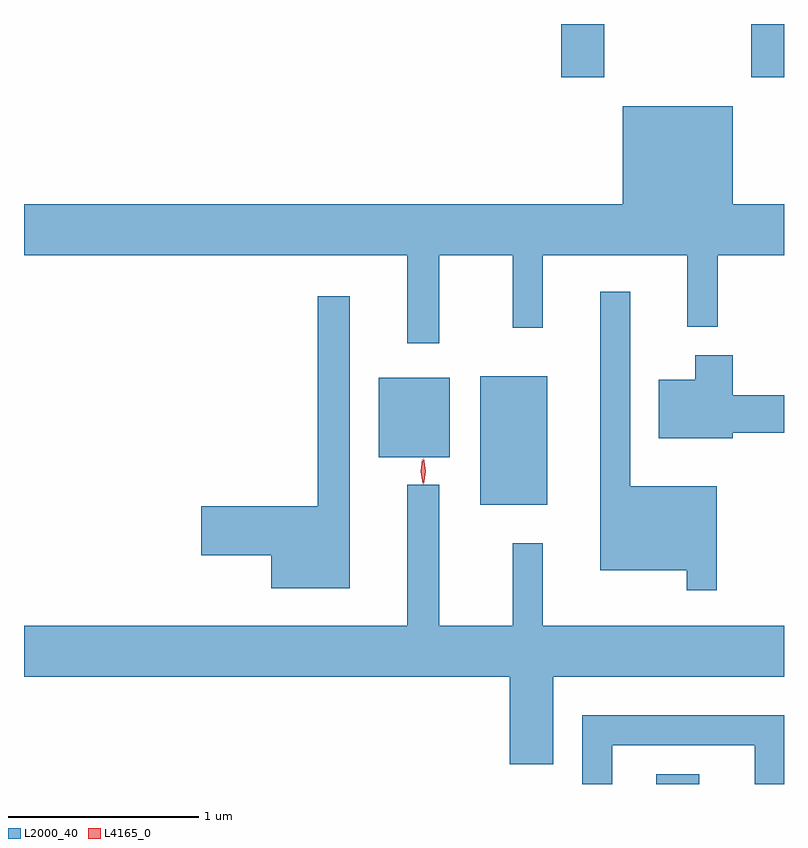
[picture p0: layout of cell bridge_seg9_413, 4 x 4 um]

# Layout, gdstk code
import gdstk
lib = gdstk.Library(unit=1e-6, precision=1e-09)
def R(c, l, rs):  # rectangles x0, y0, x1, y1
    for r in rs: c.add(gdstk.rectangle(r[:2], r[2:], *l))
def P(c, l, *ps):  # polygons
    for p in ps: c.add(gdstk.Polygon(p, *l))
L2000_40 = (2000, 40)
L4165_0 = (4165, 0)

bridge_seg9_413 = lib.new_cell('bridge_seg9_413')
R(bridge_seg9_413, L2000_40, [(427.851,2028.992,428.079,2029.044), (426.926,2030.461,427.279,2031.139), (426.391,2030.711,426.764,2031.129), (427.351,2032.711,427.579,2032.992), (428.351,2032.711,428.524,2032.992)])
P(bridge_seg9_413, L2000_40, [(426.709,2031.776),(427.096,2031.776),(427.096,2031.393),(427.254,2031.393),(427.254,2031.776),(428.016,2031.776),(428.016,2031.398),(428.174,2031.398),(428.174,2031.776),(428.524,2031.776),(428.524,2032.044),(428.254,2032.044),(428.254,2032.559),(427.676,2032.559),(427.676,2032.044),(424.524,2032.044),(424.524,2031.776),(426.541,2031.776),(426.541,2031.313),(426.709,2031.313)],
  [(428.169,2030.559),(427.714,2030.559),(427.714,2031.583),(427.556,2031.583),(427.556,2030.116),(428.011,2030.116),(428.011,2030.013),(428.169,2030.013)],
  [(426.239,2031.558),(426.071,2031.558),(426.071,2030.454),(425.456,2030.454),(425.456,2030.196),(425.826,2030.196),(425.826,2030.021),(426.239,2030.021)],
  [(428.254,2030.841),(428.524,2030.841),(428.524,2031.039),(428.254,2031.039),(428.254,2031.249),(428.056,2031.249),(428.056,2031.119),(427.866,2031.119),(427.866,2030.811),(428.254,2030.811)],
  [(427.309,2029.556),(428.524,2029.556),(428.524,2029.824),(427.254,2029.824),(427.254,2030.258),(427.096,2030.258),(427.096,2029.824),(426.709,2029.824),(426.709,2030.568),(426.541,2030.568),(426.541,2029.824),(424.524,2029.824),(424.524,2029.556),(427.081,2029.556),(427.081,2029.096),(427.309,2029.096)],
  [(427.619,2029.196),(428.371,2029.196),(428.371,2028.992),(428.524,2028.992),(428.524,2029.354),(427.461,2029.354),(427.461,2028.992),(427.619,2028.992)])
P(bridge_seg9_413, L4165_0, [(426.622,2030.573),(426.612,2030.637),(426.62,2030.701),(426.62,2030.702),(426.621,2030.701),(426.631,2030.637),(426.623,2030.573),(426.623,2030.573)],
  [(426.628,2030.569),(426.627,2030.57),(426.618,2030.638),(426.627,2030.706),(426.628,2030.706),(426.628,2030.706),(426.638,2030.638),(426.628,2030.57)])

lib.write_gds('bridge_seg9_413.gds')
